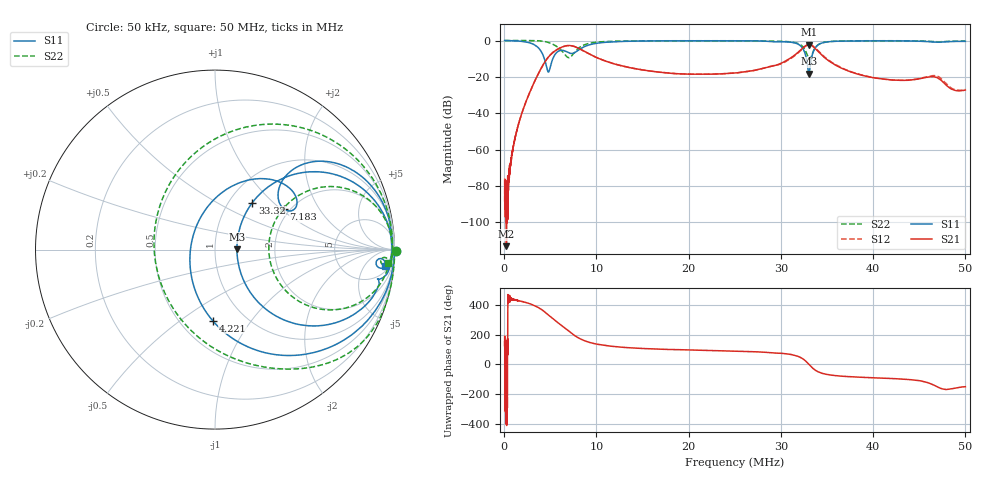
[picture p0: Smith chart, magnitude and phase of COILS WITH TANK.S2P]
!Keysight Technologies,E5063A,MY54100949,A.07.30
!Date: Thu Dec 18 19:49:45 2025
!Data & Calibration Information:
!Freq	S11:SOLT2(ON)	S21:SOLT2(ON)	S12:SOLT2(ON)	S22:SOLT2(ON)
# Hz S RI R 50
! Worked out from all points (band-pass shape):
!   10001 points, 50 kHz to 50 MHz, reference 50 ohm
!   highest |S21| = -2.18 dB at 33.03 MHz (marker M1); lowest = -113.0 dB at 249.8 kHz (marker M2)
!   |S21| within 3 dB of the highest: 5.654 MHz to 8.414 MHz (2.76 MHz wide, 39.2 % of centre); 32.14 MHz to 33.87 MHz (1.731 MHz wide, 5.25 % of centre)
!   lowest |S11| = -18.3 dB at 33.04 MHz (marker M3), VSWR 1.28, Z = 63.9 + j0.238 ohm
!   |S11| at or under -10 dB: 4.364 MHz to 5.274 MHz (909.8 kHz wide, 18.9 % of centre); 32.77 MHz to 33.3 MHz (533 kHz wide, 1.61 % of centre)
!   |S22| runs from -10.5 to 0.1 dB; largest |S21 - S12| = 0.066
!   S11 on the Smith chart (normalised r, x): 50 kHz: open; 4.221 MHz: 0.71, -0.67; 7.183 MHz: 1.86, +1.05; 33.32 MHz: 1.28, +0.75; 50 MHz: 9, -16
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50000  1.007 -0.00947  -2.31e-05 3.26e-05  -4.72e-05 -4.21e-05  1.007 -0.00555
249800  0.9989 -0.0461  -1.05e-06 -1.97e-06  2.67e-05 8.94e-05  1.001 -0.0239
1743305  0.9051 -0.3218  0.00265 0.0068  0.00266 0.00681  0.9879 -0.1606
3366680  0.4537 -0.5887  0.0661 0.0481  0.0661 0.048  0.9216 -0.3752
4220825  -0.0128 -0.3961  0.2146 0.0167  0.2146 0.0167  0.7944 -0.5393
4805240  -0.133 0.0267  0.3229 -0.1482  0.323 -0.1481  0.6196 -0.635
5469575  0.1388 0.3732  0.2602 -0.4412  0.2602 -0.4415  0.3468 -0.6632
7182860  0.3837 0.2265  -0.587 -0.431  -0.5868 -0.4315  -0.3373 0.097
8376665  0.4296 0.4431  -0.5482 0.1013  -0.549 0.1011  0.1656 0.6809
1.086418e7  0.7776 0.4358  -0.177 0.2174  -0.1771 0.2179  0.7858 0.5086
1.670333e7  0.9636 0.1893  -0.0324 0.1325  -0.0322 0.1329  0.967 0.1965
2.5025e7  0.9888 -0.0207  0.000344 0.1287  0.000513 0.1287  0.9884 0.00765
3.166336e7  0.7475 -0.3763  0.2212 0.3697  0.2044 0.359  0.814 -0.2899
3.245256e7  0.3976 -0.397  0.5338 0.3751  0.4921 0.3889  0.5566 -0.3249
3.303198e7  0.1221 -0.00307  0.778 0.0159  0.7733 0.0817  0.3056 -0.0565
3.303698e7  0.122 0.00183  0.7778 0.0112  0.7741 0.0773  0.3049 -0.0526
3.33217e7  0.2081 0.2616  0.701 -0.2231  0.7359 -0.1731  0.3394 0.168
3.335166e7  0.2246 0.2825  0.6861 -0.242  0.7232 -0.1954  0.3508 0.1878
3.526974e7  0.8937 0.2677  0.0906 -0.2526  0.0958 -0.2602  0.9117 0.2234
4.167833e7  0.9838 -0.0168  -0.00597 -0.0836  -0.00588 -0.0839  0.9901 -0.0106
4.671828e7  0.9001 -0.0872  -0.0806 -0.059  -0.085 -0.0675  0.9289 -0.0786
5e7  0.9459 -0.0914  -0.038 -0.0216  -0.0399 -0.0211  0.9665 -0.0737
